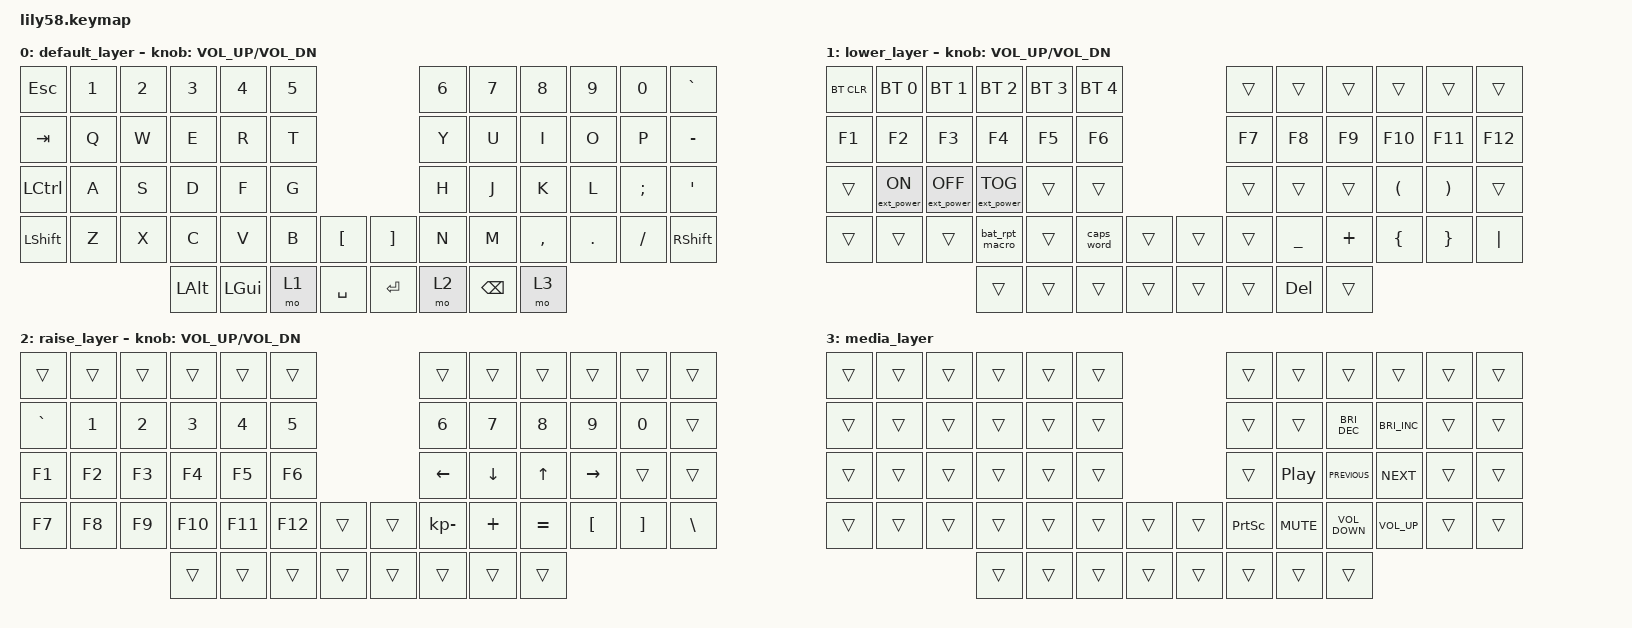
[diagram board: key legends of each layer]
/*
 * Copyright (c) 2020 The ZMK Contributors
 *
 * SPDX-License-Identifier: MIT
 */

#include <behaviors.dtsi>
#include <dt-bindings/zmk/bt.h>
#include <dt-bindings/zmk/ext_power.h>
#include <dt-bindings/zmk/keys.h>

/ {
    behaviors {
        bat_rpt: bat_rpt {
            compatible = "zmk,bat-report";
            #binding-cells = <0>;
        };
    };

    macros {
        test_maco_claude: new_macro {
            compatible = "zmk,behavior-macro";
            #binding-cells = <0>;
            bindings = <&none>;
            label = "NEW_MACRO";
        };

        bat_rpt_macro: bat_rpt_macro {
            compatible = "zmk,behavior-macro";
            #binding-cells = <0>;
            bindings = <&bat_rpt>;
            label = "BAT_RPT";
        };
    };

    keymap {
        compatible = "zmk,keymap";

        default_layer {
            // ------------------------------------------------------------------------------------------------------------
            // |  ESC  |  1  |  2  |  3   |  4   |  5   |                   |  6   |  7    |  8    |  9   |   0   |   `   |
            // |  TAB  |  Q  |  W  |  E   |  R   |  T   |                   |  Y   |  U    |  I    |  O   |   P   |   -   |
            // |  CTRL |  A  |  S  |  D   |  F   |  G   |                   |  H   |  J    |  K    |  L   |   ;   |   '   |
            // | SHIFT |  Z  |  X  |  C   |  V   |  B   |   "["  |  |  "]"  |  N   |  M    |  ,    |  .   |   /   | SHIFT |
            //                     | ALT  | GUI  | LOWER|  SPACE |  | ENTER | RAISE| BSPC  | GUI   |

            bindings = <
&kp ESC    &kp N1  &kp N2  &kp N3    &kp N4    &kp N5                         &kp N6  &kp N7    &kp N8     &kp N9   &kp N0    &kp GRAVE
&kp TAB    &kp Q   &kp W   &kp E     &kp R     &kp T                          &kp Y   &kp U     &kp I      &kp O    &kp P     &kp MINUS
&kp LCTRL  &kp A   &kp S   &kp D     &kp F     &kp G                          &kp H   &kp J     &kp K      &kp L    &kp SEMI  &kp SQT
&kp LSHFT  &kp Z   &kp X   &kp C     &kp V     &kp B   &kp LBKT     &kp RBKT  &kp N   &kp M     &kp COMMA  &kp DOT  &kp FSLH  &kp RSHFT
                           &kp LALT  &kp LGUI  &mo 1   &kp SPACE    &kp RET   &mo 2   &kp BSPC  &mo 3
            >;

            sensor-bindings = <&inc_dec_kp C_VOL_UP C_VOL_DN>;
        };

        lower_layer {
            // ------------------------------------------------------------------------------------------------------------
            // | BTCLR | BT1 | BT2 |  BT3 |  BT4 |  BT5 |                   |      |       |       |      |       |       |
            // |  F1   |  F2 |  F3 |  F4  |  F5  |  F6  |                   |  F7  |  F8   |  F9   |  F10 |  F11  |  F12  |
            // |   `   |  !  |  @  |  #   |  $   |  %   |                   |  ^   |  &    |  *    |  (   |   )   |   ~   |
            // |       |     |     |      |      |      |        |  |       |      |  _    |  +    |  {   |   }   |  "|"  |
            //                     |      |      |      |        |  |       |      |       |       |

            bindings = <
&bt BT_CLR  &bt BT_SEL 0      &bt BT_SEL 1       &bt BT_SEL 2       &bt BT_SEL 3  &bt BT_SEL 4                    &trans  &trans          &trans    &trans    &trans    &trans
&kp F1      &kp F2            &kp F3             &kp F4             &kp F5        &kp F6                          &kp F7  &kp F8          &kp F9    &kp F10   &kp F11   &kp F12
&trans      &ext_power EP_ON  &ext_power EP_OFF  &ext_power EP_TOG  &trans        &trans                          &trans  &trans          &trans    &kp LPAR  &kp RPAR  &trans
&trans      &trans            &trans             &bat_rpt_macro     &trans        &caps_word    &trans    &trans  &trans  &kp UNDERSCORE  &kp PLUS  &kp LBRC  &kp RBRC  &kp PIPE
                                                 &trans             &trans        &trans        &trans    &trans  &trans  &kp DELETE      &trans
            >;

            sensor-bindings = <&inc_dec_kp C_VOL_UP C_VOL_DN>;
        };

        raise_layer {
            // ------------------------------------------------------------------------------------------------------------
            // |       |     |     |      |      |      |                   |      |       |       |      |       |       |
            // |   `   |  1  |  2  |  3   |  4   |  5   |                   |  6   |   7   |   8   |  9   |   0   |       |
            // |   F1  |  F2 |  F3 |  F4  |  F5  |  F6  |                   |      |   <-  |   v   |  ^   |  ->   |       |
            // |   F7  |  F8 |  F9 |  F10 |  F11 |  F12 |        |  |       |  +   |   -   |   =   |  [   |   ]   |   \   |
            //                     |      |      |      |        |  |       |      |       |       |

            bindings = <
&trans     &trans  &trans  &trans   &trans   &trans                     &trans        &trans    &trans        &trans     &trans    &trans
&kp GRAVE  &kp N1  &kp N2  &kp N3   &kp N4   &kp N5                     &kp N6        &kp N7    &kp N8        &kp N9     &kp N0    &trans
&kp F1     &kp F2  &kp F3  &kp F4   &kp F5   &kp F6                     &kp LEFT      &kp DOWN  &kp UP_ARROW  &kp RIGHT  &trans    &trans
&kp F7     &kp F8  &kp F9  &kp F10  &kp F11  &kp F12  &trans    &trans  &kp KP_MINUS  &kp PLUS  &kp EQUAL     &kp LBKT   &kp RBKT  &kp BSLH
                           &trans   &trans   &trans   &trans    &trans  &trans        &trans    &trans
            >;

            sensor-bindings = <&inc_dec_kp C_VOL_UP C_VOL_DN>;
        };

        media_layer {
            bindings = <
&trans  &trans  &trans  &trans  &trans  &trans                    &trans           &trans            &trans                &trans                &trans  &trans
&trans  &trans  &trans  &trans  &trans  &trans                    &trans           &trans            &kp C_BRIGHTNESS_DEC  &kp C_BRIGHTNESS_INC  &trans  &trans
&trans  &trans  &trans  &trans  &trans  &trans                    &trans           &kp C_PLAY_PAUSE  &kp C_PREVIOUS        &kp C_NEXT            &trans  &trans
&trans  &trans  &trans  &trans  &trans  &trans  &trans    &trans  &kp PRINTSCREEN  &kp C_MUTE        &kp C_VOLUME_DOWN     &kp C_VOL_UP          &trans  &trans
                        &trans  &trans  &trans  &trans    &trans  &trans           &trans            &trans
            >;
        };
    };
};
